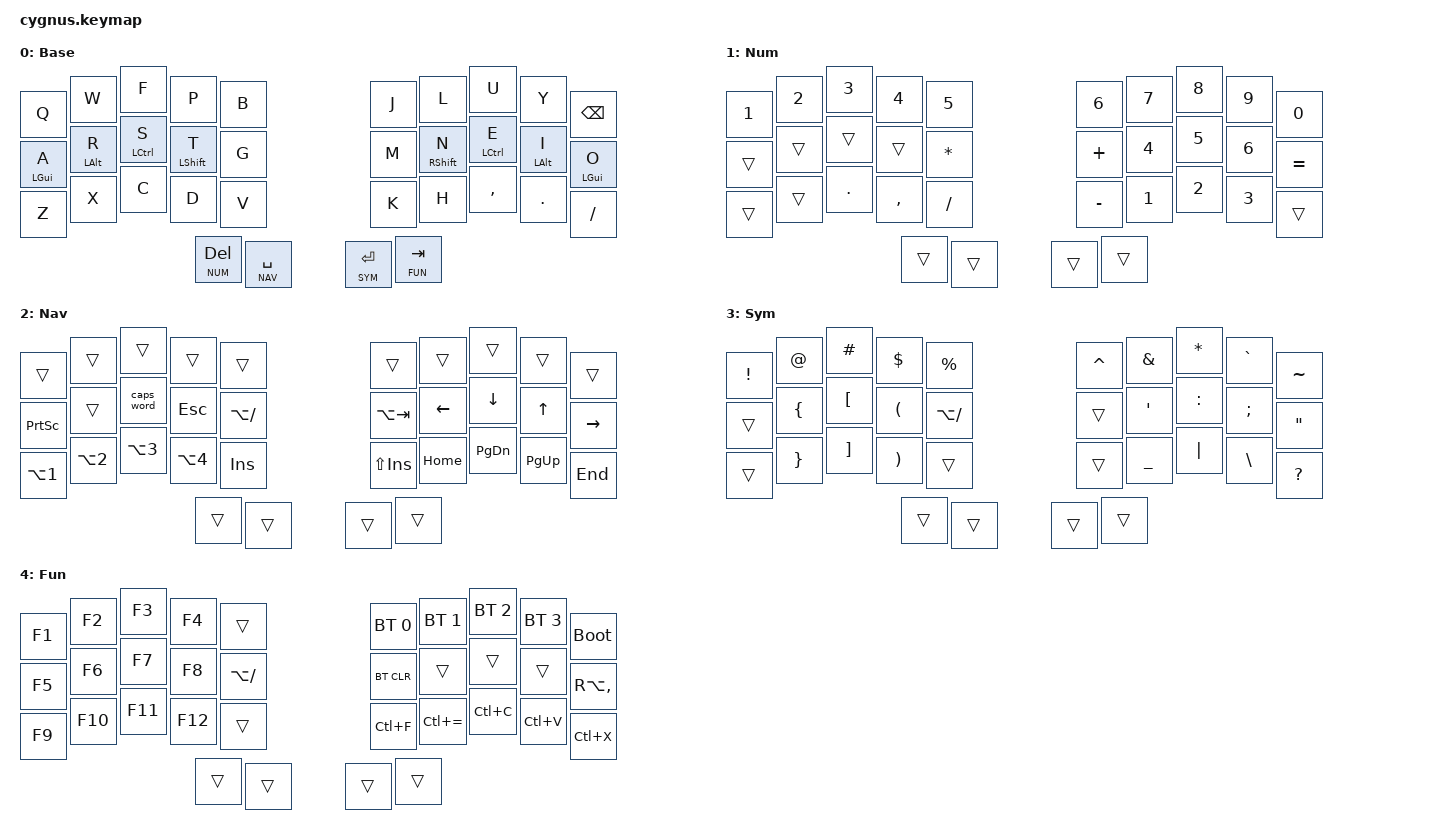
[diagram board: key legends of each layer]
#include <behaviors.dtsi>
#include <dt-bindings/zmk/keys.h>
#include <dt-bindings/zmk/bt.h>

/* Layers */
#define BASE 0
#define NUM  1
#define NAV  2
#define SYM  3
#define FUN  4

/*
 * Key positions (34 keys, same order as QMK LAYOUT_split_3x5_2):
 *
 *   0  1  2  3  4        5  6  7  8  9
 *  10 11 12 13 14       15 16 17 18 19
 *  20 21 22 23 24       25 26 27 28 29
 *           30 31       32 33
 */

/ {
    behaviors {
        // Home row mod, left hand: hold only triggers when the next key is on the right hand
        hml: homerow_mods_left {
            compatible = "zmk,behavior-hold-tap";
            #binding-cells = <2>;
            flavor = "balanced";
            tapping-term-ms = <280>;
            quick-tap-ms = <175>;
            require-prior-idle-ms = <150>;
            bindings = <&kp>, <&kp>;
            hold-trigger-key-positions = <5 6 7 8 9 15 16 17 18 19 25 26 27 28 29 32 33>;
            hold-trigger-on-release;
        };

        // Home row mod, right hand: hold only triggers when the next key is on the left hand
        hmr: homerow_mods_right {
            compatible = "zmk,behavior-hold-tap";
            #binding-cells = <2>;
            flavor = "balanced";
            tapping-term-ms = <280>;
            quick-tap-ms = <175>;
            require-prior-idle-ms = <150>;
            bindings = <&kp>, <&kp>;
            hold-trigger-key-positions = <0 1 2 3 4 10 11 12 13 14 20 21 22 23 24 30 31>;
            hold-trigger-on-release;
        };
    };

    keymap {
        compatible = "zmk,keymap";

        base_layer {
            display-name = "Base";
            bindings = <
                &kp Q          &kp W          &kp F          &kp P          &kp B    &kp J          &kp L          &kp U          &kp Y          &kp BSPC
                &hml LGUI A    &hml LALT R    &hml LCTRL S   &hml LSHFT T   &kp G    &kp M          &hmr RSHFT N   &hmr LCTRL E   &hmr LALT I    &hmr LGUI O
                &kp Z          &kp X          &kp C          &kp D          &kp V    &kp K          &kp H          &kp COMMA      &kp DOT        &kp FSLH
                                                             &lt NUM DEL    &lt NAV SPACE           &lt SYM RET    &lt FUN TAB
            >;
        };

        num_layer {
            display-name = "Num";
            bindings = <
                &kp N1     &kp N2     &kp N3     &kp N4     &kp N5      &kp N6     &kp N7     &kp N8     &kp N9     &kp N0
                &trans     &trans     &trans     &trans     &kp STAR    &kp PLUS   &kp N4     &kp N5     &kp N6     &kp EQUAL
                &trans     &trans     &kp DOT    &kp COMMA  &kp FSLH    &kp MINUS  &kp N1     &kp N2     &kp N3     &trans
                                                 &trans     &trans      &trans     &trans
            >;
        };

        nav_layer {
            display-name = "Nav";
            bindings = <
                &trans        &trans        &trans        &trans        &trans          &trans        &trans        &trans        &trans        &trans
                &kp PSCRN     &trans        &caps_word    &kp ESC       &kp LA(FSLH)    &kp LA(TAB)   &kp LEFT      &kp DOWN      &kp UP        &kp RIGHT
                &kp LA(N1)    &kp LA(N2)    &kp LA(N3)    &kp LA(N4)    &kp INS         &kp LS(INS)   &kp HOME      &kp PG_DN     &kp PG_UP     &kp END
                                                          &trans        &trans          &trans        &trans
            >;
        };

        sym_layer {
            display-name = "Sym";
            bindings = <
                &kp EXCL      &kp AT        &kp HASH      &kp DLLR      &kp PRCNT       &kp CARET     &kp AMPS      &kp STAR      &kp GRAVE     &kp TILDE
                &trans        &kp LBRC      &kp LBKT      &kp LPAR      &kp LA(FSLH)    &trans        &kp SQT       &kp COLON     &kp SEMI      &kp DQT
                &trans        &kp RBRC      &kp RBKT      &kp RPAR      &trans          &trans        &kp UNDER     &kp PIPE      &kp BSLH      &kp QMARK
                                                          &trans        &trans          &trans        &trans
            >;
        };

        fun_layer {
            display-name = "Fun";
            bindings = <
                &kp F1         &kp F2         &kp F3         &kp F4         &trans          &bt BT_SEL 0   &bt BT_SEL 1   &bt BT_SEL 2   &bt BT_SEL 3   &bootloader
                &kp F5         &kp F6         &kp F7         &kp F8         &kp LA(FSLH)    &bt BT_CLR     &trans         &trans         &trans         &kp RA(COMMA)
                &kp F9         &kp F10        &kp F11        &kp F12        &trans          &kp LC(F)      &kp LC(EQUAL)  &kp LC(C)      &kp LC(V)      &kp LC(X)
                                                             &trans         &trans          &trans         &trans
            >;
        };

        /* Spare layer slot for ZMK Studio */
        extra_layer {
            status = "reserved";
        };
    };
};
